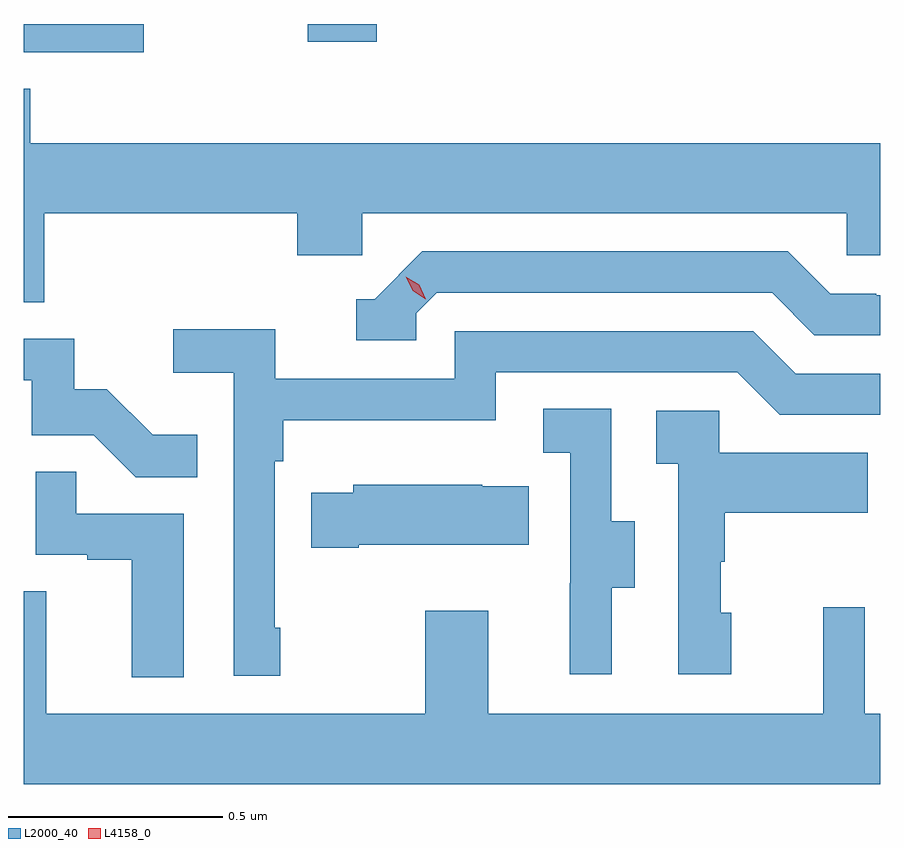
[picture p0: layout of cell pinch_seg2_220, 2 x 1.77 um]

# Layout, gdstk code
import gdstk
lib = gdstk.Library(unit=1e-6, precision=1e-09)
def R(c, l, rs):  # rectangles x0, y0, x1, y1
    for r in rs: c.add(gdstk.rectangle(r[:2], r[2:], *l))
def P(c, l, *ps):  # polygons
    for p in ps: c.add(gdstk.Polygon(p, *l))
L2000_40 = (2000, 40)
L4158_0 = (4158, 0)

pinch_seg2_220 = lib.new_cell('pinch_seg2_220')
R(pinch_seg2_220, L2000_40, [(976.742,658.668,977.023,658.734), (977.405,658.692,977.566,658.734)])
P(pinch_seg2_220, L2000_40, [(976.79,658.292),(977.381,658.292),(977.381,658.194),(977.532,658.194),(977.532,658.292),(978.663,658.292),(978.663,658.194),(978.742,658.194),(978.742,658.456),(976.757,658.456),(976.757,658.583),(976.742,658.583),(976.742,658.084),(976.79,658.084)],
  [(977.658,658.059),(977.706,658.107),(978.489,658.107),(978.588,658.008),(978.742,658.008),(978.742,658.101),(978.732,658.101),(978.732,658.104),(978.625,658.104),(978.526,658.203),(977.673,658.203),(977.562,658.092),(977.519,658.092),(977.519,657.996),(977.658,657.996)],
  [(977.341,657.325),(977.328,657.325),(977.328,657.713),(977.348,657.713),(977.348,657.809),(977.844,657.809),(977.844,657.921),(978.408,657.921),(978.507,657.822),(978.742,657.822),(978.742,657.918),(978.544,657.918),(978.445,658.017),(977.748,658.017),(977.748,657.906),(977.33,657.906),(977.33,658.022),(977.091,658.022),(977.091,657.92),(977.232,657.92),(977.232,657.213),(977.341,657.213)],
  [(977.147,657.775),(977.043,657.775),(976.936,657.882),(976.86,657.882),(976.86,657.999),(976.742,657.999),(976.742,657.903),(976.761,657.903),(976.761,657.774),(976.906,657.774),(977.004,657.676),(977.147,657.676)],
  [(978.115,657.418),(978.169,657.418),(978.169,657.573),(978.114,657.573),(978.114,657.836),(977.955,657.836),(977.955,657.733),(978.018,657.733),(978.018,657.429),(978.017,657.429),(978.017,657.216),(978.115,657.216)],
  [(978.394,657.36),(978.369,657.36),(978.369,657.479),(978.379,657.479),(978.379,657.593),(978.713,657.593),(978.713,657.733),(978.366,657.733),(978.366,657.831),(978.219,657.831),(978.219,657.707),(978.27,657.707),(978.27,657.216),(978.394,657.216)],
  [(977.116,657.591),(976.865,657.591),(976.865,657.689),(976.77,657.689),(976.77,657.495),(976.891,657.495),(976.891,657.483),(976.994,657.483),(976.994,657.209),(977.116,657.209)],
  [(977.524,657.518),(977.921,657.518),(977.921,657.655),(977.813,657.655),(977.813,657.658),(977.511,657.658),(977.511,657.64),(977.413,657.64),(977.413,657.511),(977.524,657.511)],
  [(978.742,657.124),(978.705,657.124),(978.705,657.373),(978.608,657.373),(978.608,657.124),(977.827,657.124),(977.827,657.364),(977.68,657.364),(977.68,657.124),(976.795,657.124),(976.795,657.41),(976.742,657.41),(976.742,656.96),(978.742,656.96)])
P(pinch_seg2_220, L4158_0, [(977.681,658.092),(977.65,658.111),(977.634,658.144),(977.634,658.144),(977.634,658.144),(977.665,658.125),(977.681,658.092),(977.681,658.092)])

lib.write_gds('pinch_seg2_220.gds')
